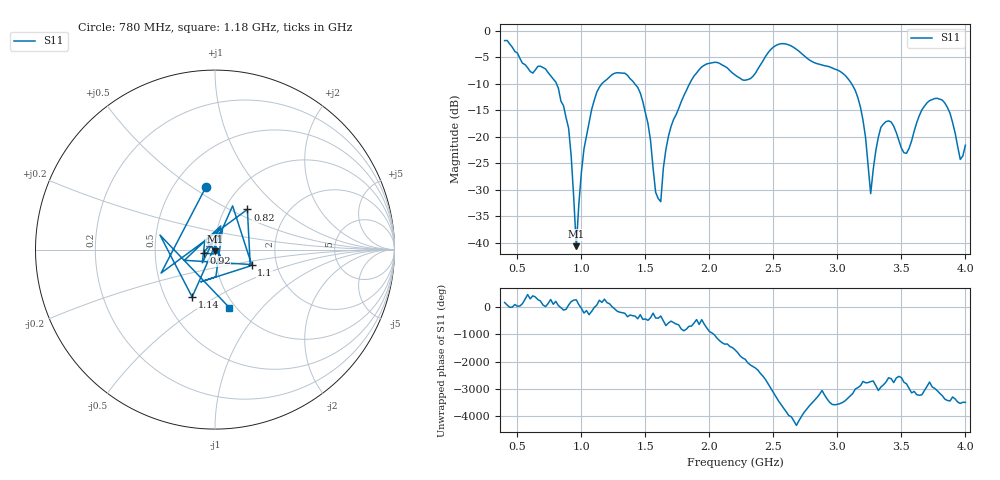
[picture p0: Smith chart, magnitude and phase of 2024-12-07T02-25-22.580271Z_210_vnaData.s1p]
!Created with skrf (http://scikit-rf.org).
# Hz S RI R 50.0
!freq ReS11 ImS11
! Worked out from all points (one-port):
!   181 points, 400 MHz to 4 GHz, reference 50 ohm
!   lowest |S11| = -40.6 dB at 960 MHz (marker M1), VSWR 1.02, Z = 49.8 - j0.915 ohm
!   |S11| at or under -10 dB: 805.4 MHz to 1.159 GHz (353.9 MHz wide, 36 % of centre); 1.416 GHz to 1.845 GHz (428.7 MHz wide, 26.3 % of centre); 3.111 GHz to end of sweep
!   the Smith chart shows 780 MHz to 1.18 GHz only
!   S11 on the Smith chart (normalised r, x): 780 MHz: 0.72, +0.56; 820 MHz: 1.27, +0.62; 920 MHz: 0.88, -0.03; 1.1 GHz: 1.48, -0.26; 1.14 GHz: 0.68, -0.39; 1.18 GHz: 0.93, -0.68
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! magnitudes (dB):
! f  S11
! 400 MHz  -1.9
! 780 MHz  -9.1
! 820 MHz  -10.8
! 860 MHz  -14.1
! 920 MHz  -23.6
! 960 MHz  -40.6
! 1.02 GHz  -22.3
! 1.1 GHz  -13.1
! 1.14 GHz  -10.7
! 1.18 GHz  -9.6
! 1.3 GHz  -8.0
! 1.46 GHz  -11.7
! 1.58 GHz  -30.5
! 1.62 GHz  -32.2
! 1.68 GHz  -19.9
! 1.76 GHz  -14.7
! 1.96 GHz  -6.5
! 2.2 GHz  -8.3
! 2.66 GHz  -3.2
! 3.1 GHz  -9.6
! 3.2 GHz  -16.9
! 3.26 GHz  -30.7
! 3.36 GHz  -17.6
! 3.56 GHz  -22.2
! 3.78 GHz  -12.8
! 3.88 GHz  -15.6
! 3.96 GHz  -24.3
! 4 GHz  -21.6
